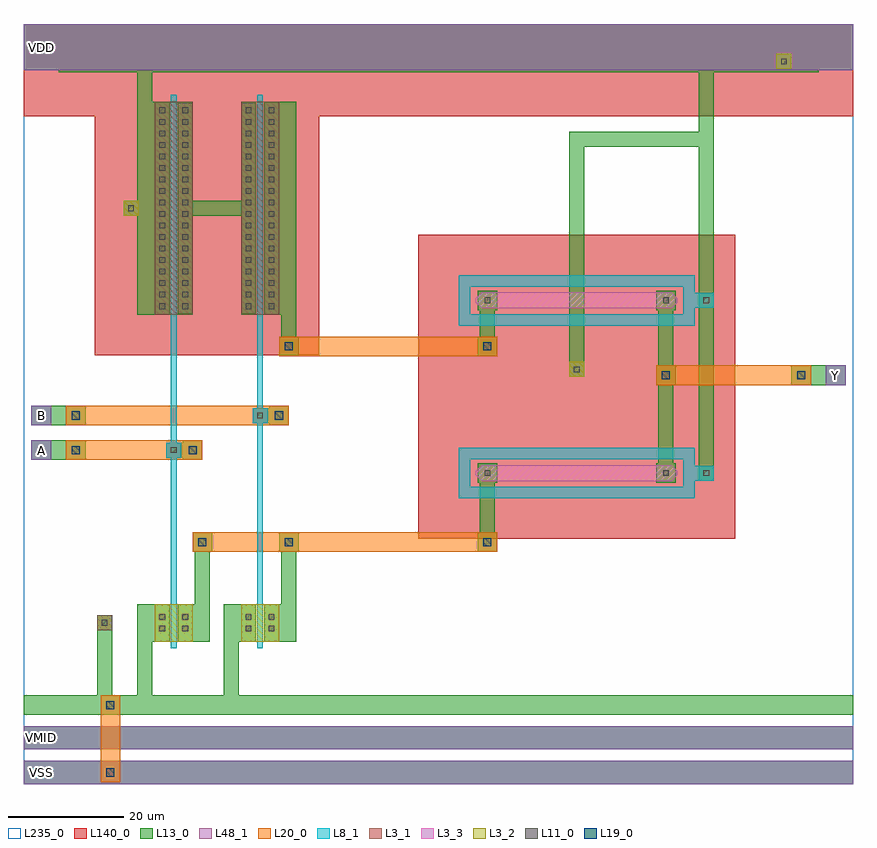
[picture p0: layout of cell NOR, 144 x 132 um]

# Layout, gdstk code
import gdstk
lib = gdstk.Library(unit=1e-6, precision=1e-09)
def R(c, l, rs):  # rectangles x0, y0, x1, y1
    for r in rs: c.add(gdstk.rectangle(r[:2], r[2:], *l))
def A(c, l, x, y, w, h, nx, ny, dx, dy):  # array of equal rectangles
    R(c, l, [(x+i*dx, y+j*dy, x+i*dx+w, y+j*dy+h) for i in range(nx) for j in range(ny)])
def P(c, l, *ps):  # polygons
    for p in ps: c.add(gdstk.Polygon(p, *l))
L3_1 = (3, 1)
L3_2 = (3, 2)
L3_3 = (3, 3)
L8_1 = (8, 1)
L11_0 = (11, 0)
L13_0 = (13, 0)
L19_0 = (19, 0)
L20_0 = (20, 0)
L48_1 = (48, 1)
L140_0 = (140, 0)
L235_0 = (235, 0)

fet_p__nor = lib.new_cell('fet_p__NOR')
R(fet_p__nor, L3_1, [(-3.3,-18.5,3.3,18.5)])
A(fet_p__nor, L11_0, -2.5, -17.5, 1, 1, 1, 18, 0, 2)
A(fet_p__nor, L11_0, 1.5, -17.5, 1, 1, 1, 18, 0, 2)
R(fet_p__nor, L13_0, [(-3.3,-18.3,-0.7,18.3), (0.7,-18.3,3.3,18.3)])
fet_p__nor.add(gdstk.FlexPath([(0,-19.7),(0,19.7)], 1, ends="flush", simple_path=True, layer=8, datatype=1))  # L8_1

fet_n__nor = lib.new_cell('fet_n__NOR')
R(fet_n__nor, L3_2, [(-3.3,-3.25,3.3,3.25)])
R(fet_n__nor, L11_0, [(-2.5,-1.5,-1.5,-0.5), (1.5,-1.5,2.5,-0.5), (-2.5,0.5,-1.5,1.5), (1.5,0.5,2.5,1.5)])
R(fet_n__nor, L13_0, [(-3.3,-2.3,-0.7,2.3), (0.7,-2.3,3.3,2.3)])
fet_n__nor.add(gdstk.FlexPath([(0,-4.45),(0,4.45)], 1, ends="flush", simple_path=True, layer=8, datatype=1))  # L8_1

res_diff__nor = lib.new_cell('res_diff__NOR')
P(res_diff__nor, L3_3, [(-16.5,-1.4),(-17.5,-0.4),(-17.5,0.4),(-16.5,1.4),(16.5,1.4),(17.5,0.4),(17.5,-0.4),(16.5,-1.4)])
P(res_diff__nor, L8_1, [(-20.5,-4.4),(-20.5,2.4),(-18.5,2.4),(-18.5,-2.4),(18.5,-2.4),(18.5,2.4),(-20.5,2.4),(-20.5,4.4),(20.5,4.4),(20.5,-4.4)])
R(res_diff__nor, L11_0, [(-16,-0.5,-15,0.5), (15,-0.5,16,0.5)])
R(res_diff__nor, L13_0, [(-17.2,-1.7,-13.8,1.7), (13.8,-1.7,17.2,1.7)])

cont_n__nor = lib.new_cell('cont_n__NOR')
R(cont_n__nor, L3_2, [(-1.3,-1.3,1.3,1.3)])
R(cont_n__nor, L11_0, [(-0.5,-0.5,0.5,0.5)])
R(cont_n__nor, L13_0, [(-1.3,-1.3,1.3,1.3)])

cont_p__nor = lib.new_cell('cont_p__NOR')
R(cont_p__nor, L3_1, [(-1.3,-1.3,1.3,1.3)])
R(cont_p__nor, L11_0, [(-0.5,-0.5,0.5,0.5)])
R(cont_p__nor, L13_0, [(-1.3,-1.3,1.3,1.3)])

cont_g__nor = lib.new_cell('cont_g__NOR')
R(cont_g__nor, L8_1, [(-1.3,-1.3,1.3,1.3)])
R(cont_g__nor, L11_0, [(-0.5,-0.5,0.5,0.5)])
R(cont_g__nor, L13_0, [(-1.3,-1.3,1.3,1.3)])

via_1__nor = lib.new_cell('via_1__NOR')
R(via_1__nor, L13_0, [(-1.7,-1.7,1.7,1.7)])
R(via_1__nor, L19_0, [(-0.7,-0.7,0.7,0.7)])
R(via_1__nor, L20_0, [(-1.7,-1.7,1.7,1.7)])

nor = lib.new_cell('NOR')
R(nor, L8_1, [(25.5,27.5,26.5,100.5), (40.5,27.5,41.5,100.5), (115.2,52.7,119.8,55.3), (115.2,82.7,119.8,85.3)])
R(nor, L13_0, [(0,0,144,4), (0,6,144,10), (0,12,144,15.4), (6,12,138,15.4), (12.7,12.4,15.3,29.3), (19.7,12.4,22.3,29.3), (34.7,12.4,37.3,29.3), (19.7,24.75,25.3,31.25), (26.7,24.75,32.3,31.25), (34.7,24.75,40.3,31.25), (41.7,24.75,47.3,31.25), (19.7,26.7,25.3,29.3), (26.7,26.7,32.3,29.3), (29.7,26.7,32.3,43.3), (34.7,26.7,40.3,29.3), (41.7,26.7,47.3,29.3), (44.7,26.7,47.3,43.3), (79.2,40.7,81.8,55.3), (110.2,52.7,112.8,85.3), (117.2,52.7,119.8,113.3), (1.3,56.3,10.7,59.7), (1.3,56.3,4.7,59.7), (24.7,56.7,30.6,59.3), (1.3,62.3,10.7,65.7), (1.3,62.3,4.7,65.7), (39.7,62.7,45.6,65.3), (133.3,69.3,142.7,72.7), (139.3,69.3,142.7,72.7), (94.7,70.7,97.3,113.3), (44.7,74.7,47.3,101.3), (79.2,74.7,81.8,85.3), (19.7,81.5,25.3,118.5), (41.7,81.5,47.3,118.5), (17.3,98.7,22.3,101.3), (19.7,98.7,22.3,126.6), (19.7,98.7,25.3,101.3), (26.7,98.7,40.3,101.3), (41.7,98.7,47.3,101.3), (94.7,110.7,119.8,113.3), (117.2,110.7,119.8,126.6), (6,123.6,138,127), (0,124,144,132), (130.7,124.2,133.3,129.3)])
R(nor, L20_0, [(13.3,0.3,16.7,15.4), (29.3,40.3,82.2,43.7), (7.3,56.3,31,59.7), (7.3,62.3,46,65.7), (109.8,69.3,136.7,72.7), (44.3,74.3,82.2,77.7)])
R(nor, L48_1, [(0,0,144,4), (0,6,144,10), (1.3,56.3,4.7,59.7), (1.3,62.3,4.7,65.7), (139.3,69.3,142.7,72.7), (0,124,144,132)])
R(nor, L140_0, [(68.5,42.6,123.5,95.4), (12.3,74.5,51.3,125.5), (0,116,144,132)])
R(nor, L235_0, [(0,0,144,132)])
nor.add(gdstk.Reference(fet_p__nor, (26,100)))
nor.add(gdstk.Reference(fet_n__nor, (26,28)))
nor.add(gdstk.Reference(fet_p__nor, (41,100)))
nor.add(gdstk.Reference(fet_n__nor, (41,28)))
nor.add(gdstk.Reference(res_diff__nor, (96,84)))
nor.add(gdstk.Reference(res_diff__nor, (96,54)))
nor.add(gdstk.Reference(cont_n__nor, (18.6,100)))
nor.add(gdstk.Reference(cont_n__nor, (96,72)))
nor.add(gdstk.Reference(cont_p__nor, (14,28)))
nor.add(gdstk.Reference(cont_g__nor, (118.5,54)))
nor.add(gdstk.Reference(cont_g__nor, (118.5,84)))
nor.add(gdstk.Reference(via_1__nor, (46,76)))
nor.add(gdstk.Reference(via_1__nor, (31,42)))
nor.add(gdstk.Reference(via_1__nor, (46,42)))
nor.add(gdstk.Reference(cont_g__nor, (26,58)))
nor.add(gdstk.Reference(via_1__nor, (29.3,58)))
nor.add(gdstk.Reference(cont_g__nor, (41,64)))
nor.add(gdstk.Reference(via_1__nor, (44.3,64)))
nor.add(gdstk.Reference(via_1__nor, (80.5,76)))
nor.add(gdstk.Reference(via_1__nor, (80.5,42)))
nor.add(gdstk.Reference(via_1__nor, (111.5,71)))
nor.add(gdstk.Reference(via_1__nor, (9,58)))
nor.add(gdstk.Reference(via_1__nor, (9,64)))
nor.add(gdstk.Reference(via_1__nor, (135,71)))
nor.add(gdstk.Reference(cont_n__nor, (132,125.5)))
nor.add(gdstk.Reference(via_1__nor, (15,13.7)))
nor.add(gdstk.Reference(via_1__nor, (15,2)))
nor.add(gdstk.Label('A', (3,58), layer=48, texttype=0))
nor.add(gdstk.Label('B', (3,64), layer=48, texttype=0))
nor.add(gdstk.Label('Y', (141,71), layer=48, texttype=0))
nor.add(gdstk.Label('VDD', (3,128), layer=48, texttype=0))
nor.add(gdstk.Label('VMID', (3,8), layer=48, texttype=0))
nor.add(gdstk.Label('VSS', (3,2), layer=48, texttype=0))

lib.write_gds('NOR.gds')
